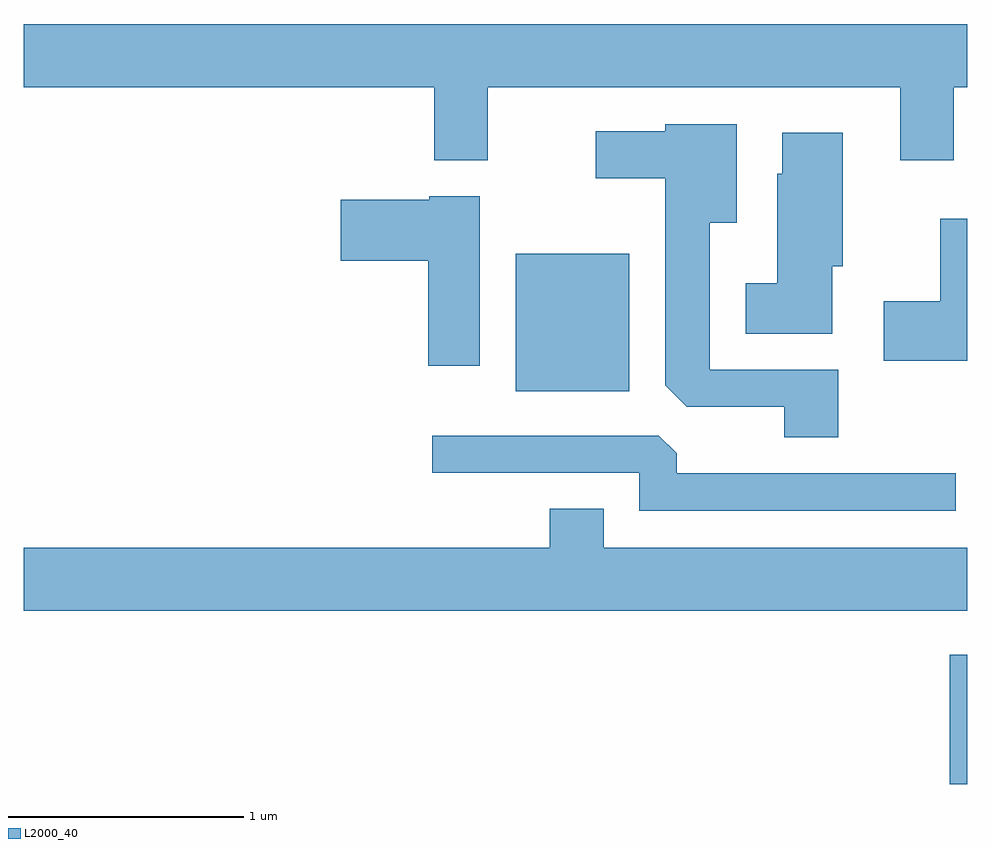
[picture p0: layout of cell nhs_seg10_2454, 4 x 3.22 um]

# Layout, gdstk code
import gdstk
lib = gdstk.Library(unit=1e-6, precision=1e-09)
def R(c, l, rs):  # rectangles x0, y0, x1, y1
    for r in rs: c.add(gdstk.rectangle(r[:2], r[2:], *l))
def P(c, l, *ps):  # polygons
    for p in ps: c.add(gdstk.Polygon(p, *l))
L2000_40 = (2000, 40)

nhs_seg10_2454 = lib.new_cell('nhs_seg10_2454')
R(nhs_seg10_2454, L2000_40, [(261.536,2106.522,261.611,2107.069), (259.696,2108.186,260.179,2108.769)])
P(nhs_seg10_2454, L2000_40, [(259.579,2109.476),(261.326,2109.476),(261.326,2109.166),(261.554,2109.166),(261.554,2109.476),(261.611,2109.476),(261.611,2109.744),(257.611,2109.744),(257.611,2109.476),(259.351,2109.476),(259.351,2109.166),(259.579,2109.166)],
  [(261.064,2108.279),(260.519,2108.279),(260.519,2108.901),(260.634,2108.901),(260.634,2109.319),(260.331,2109.319),(260.331,2109.289),(260.036,2109.289),(260.036,2109.091),(260.331,2109.091),(260.331,2108.212),(260.421,2108.121),(260.836,2108.121),(260.836,2107.991),(261.064,2107.991)],
  [(261.039,2108.716),(261.084,2108.716),(261.084,2109.284),(260.826,2109.284),(260.826,2109.109),(260.806,2109.109),(260.806,2108.644),(260.671,2108.644),(260.671,2108.431),(261.039,2108.431)],
  [(259.544,2109.014),(259.33,2109.014),(259.33,2108.999),(258.956,2108.999),(258.956,2108.741),(259.326,2108.741),(259.326,2108.296),(259.544,2108.296)],
  [(261.611,2108.919),(261.496,2108.919),(261.496,2108.569),(261.256,2108.569),(261.256,2108.316),(261.611,2108.316)],
  [(261.563,2107.839),(260.379,2107.839),(260.379,2107.924),(260.304,2107.999),(259.343,2107.999),(259.343,2107.841),(260.221,2107.841),(260.221,2107.681),(261.563,2107.681)],
  [(261.611,2107.524),(260.069,2107.524),(260.069,2107.689),(259.841,2107.689),(259.841,2107.524),(257.611,2107.524),(257.611,2107.256),(261.611,2107.256)])

lib.write_gds('nhs_seg10_2454.gds')
